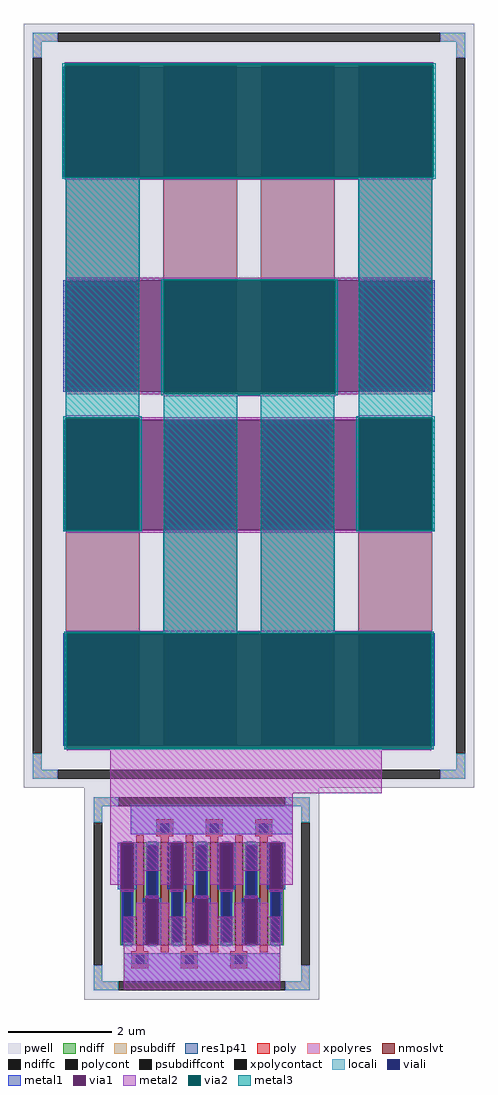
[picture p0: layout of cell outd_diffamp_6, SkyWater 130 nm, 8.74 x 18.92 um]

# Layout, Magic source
magic
tech sky130A
magscale 1 2
<< metal1 >>
rect 74 3208 84 3636
rect 1500 3208 1510 3636
rect 74 2376 84 2808
rect 1504 2376 1514 2808
rect 78 1840 88 2268
rect 1504 1840 1514 2268
rect 74 1004 84 1440
rect 1504 1004 1514 1440
rect 336 660 964 776
rect 286 448 296 628
rect 348 448 358 628
rect 478 448 488 628
rect 540 448 550 628
rect 670 448 680 628
rect 732 448 742 628
rect 862 448 872 628
rect 924 448 934 628
rect 382 232 392 412
rect 444 232 454 412
rect 574 232 584 412
rect 636 232 646 412
rect 766 232 776 412
rect 828 232 838 412
rect 308 84 916 200
<< via1 >>
rect 84 3208 1500 3636
rect 84 2376 1504 2808
rect 88 1840 1504 2268
rect 84 1004 1504 1440
rect 296 448 348 628
rect 488 448 540 628
rect 680 448 732 628
rect 872 448 924 628
rect 392 232 444 412
rect 584 232 636 412
rect 776 232 828 412
<< metal2 >>
rect 80 3644 1508 3654
rect 80 3198 1508 3208
rect 84 2808 1504 2818
rect 84 2368 464 2376
rect 1128 2368 1504 2376
rect 84 2366 1504 2368
rect 464 2358 1128 2366
rect 84 2278 368 2286
rect 1220 2278 1504 2286
rect 84 2276 1504 2278
rect 368 2268 1220 2276
rect 84 1830 1504 1840
rect 84 1440 1504 1450
rect 84 996 88 1004
rect 1500 996 1504 1004
rect 84 994 1504 996
rect 88 986 1500 994
rect 256 820 1308 986
rect 256 628 964 820
rect 256 464 296 628
rect 348 520 488 628
rect 348 464 388 520
rect 452 464 488 520
rect 296 438 348 448
rect 540 520 680 628
rect 540 464 580 520
rect 644 464 680 520
rect 488 438 540 448
rect 732 520 872 628
rect 732 464 772 520
rect 836 464 872 520
rect 680 438 732 448
rect 924 464 964 628
rect 872 438 924 448
rect 392 412 444 422
rect 356 340 392 396
rect 308 232 392 340
rect 584 412 636 422
rect 444 340 484 396
rect 548 340 584 396
rect 444 232 584 340
rect 776 412 828 422
rect 636 340 672 396
rect 736 340 776 396
rect 636 232 776 340
rect 828 340 868 396
rect 828 232 916 340
rect 308 60 916 232
<< via2 >>
rect 80 3636 1508 3644
rect 80 3208 84 3636
rect 84 3208 1500 3636
rect 1500 3208 1508 3636
rect 464 2376 1128 2808
rect 464 2368 1128 2376
rect 84 2268 368 2276
rect 1220 2268 1504 2276
rect 84 1840 88 2268
rect 88 1840 368 2268
rect 1220 1840 1504 2268
rect 88 1004 1500 1440
rect 88 996 1500 1004
<< metal3 >>
rect 70 3644 1518 3649
rect 70 3208 80 3644
rect 1508 3208 1518 3644
rect 70 3203 1518 3208
rect 84 2281 368 3203
rect 454 2808 1138 2813
rect 454 2368 464 2808
rect 1128 2368 1138 2808
rect 454 2363 1138 2368
rect 74 2276 378 2281
rect 74 1840 84 2276
rect 368 1840 378 2276
rect 74 1835 378 1840
rect 464 1445 748 2363
rect 840 1445 1124 2363
rect 1220 2281 1504 3203
rect 1210 2276 1514 2281
rect 1210 1840 1220 2276
rect 1504 1840 1514 2276
rect 1210 1835 1514 1840
rect 78 1440 1510 1445
rect 78 996 88 1440
rect 1500 996 1510 1440
rect 78 991 1510 996
use sky130_fd_pr__nfet_01v8_lvt_V6SMGN  sky130_fd_pr__nfet_01v8_lvt_V6SMGN_0
transform 1 0 611 0 1 430
box -455 -410 455 410
use sky130_fd_pr__res_xhigh_po_1p41_FUYU7G  sky130_fd_pr__res_xhigh_po_1p41_FUYU7G_0
transform 1 0 794 0 1 2322
box -874 -1482 874 1482
<< end >>

# cell sky130_fd_pr__nfet_01v8_lvt_V6SMGN: kit device sky130_fd_pr__nfet_01v8_lvt, w 2 l 0.150 m 1 nf 6 diffcov 100 polycov 100 guard 1 glc 1 grc 1 gtc 1 gbc 1 tbcov 100 rlcov 100 topc 1 botc 1 poverlap 0 doverlap 1 lmin 0.15 wmin 0.42 compatible {sky130_fd_pr__nfet_01v8 sky130_fd_pr__nfet_01v8_lvt sky130_fd_bs_flash__special_sonosfet_star sky130_fd_pr__nfet_g5v0d10v5 sky130_fd_pr__nfet_05v0_nvt sky130_fd_pr__nfet_03v3_nvt} full_metal 1 viasrc 100 viadrn 100 viagate 100 viagb 0 viagr 0 viagl 0 viagt 0

# cell sky130_fd_pr__res_xhigh_po_1p41_FUYU7G: kit device sky130_fd_pr__res_xhigh_po_1p41, w 1.41 l 2 m 2 nx 4 wmin 1.410 lmin 0.50 rho 2000 val 3.103k dummy 0 dw 0.0 term 188.2 sterm 0.0 caplen 0 wmax 1.410 guard 1 glc 1 grc 1 gtc 1 gbc 1 compatible {sky130_fd_pr__res_xhigh_po_0p35 sky130_fd_pr__res_xhigh_po_0p69 sky130_fd_pr__res_xhigh_po_1p41 sky130_fd_pr__res_xhigh_po_2p85 sky130_fd_pr__res_xhigh_po_5p73} snake 0 full_metal 1 n_guard 0 hv_guard 0 vias 1 viagb 0 viagt 0 viagl 0 viagr 0
